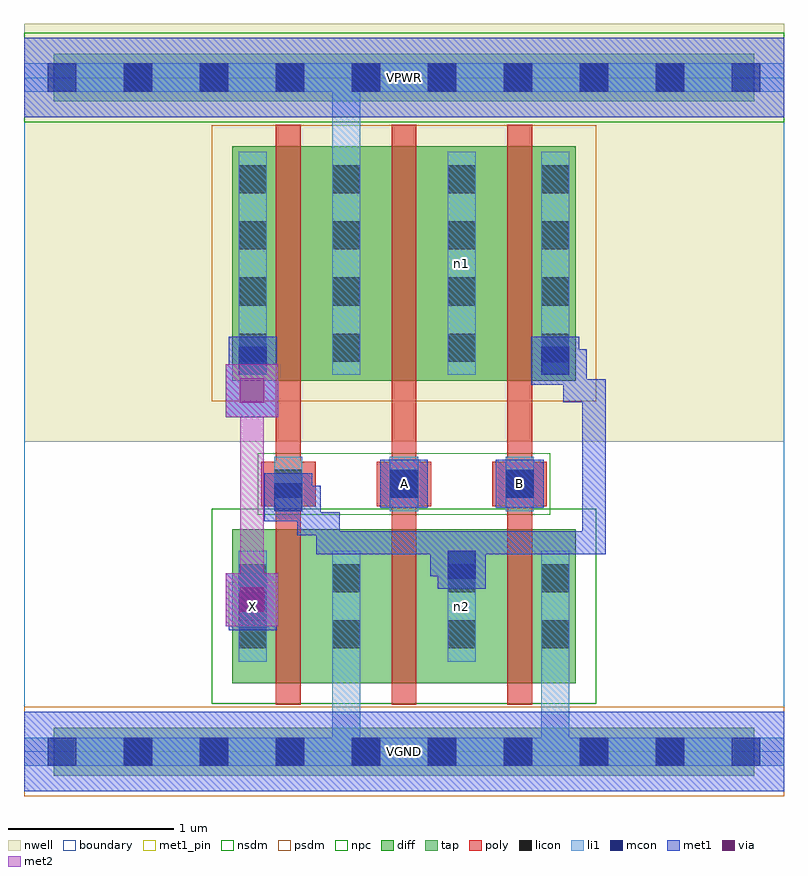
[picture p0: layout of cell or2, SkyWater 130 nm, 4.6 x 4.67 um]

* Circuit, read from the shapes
.subckt or2 A B VGND VPWR X n1 n2
XM1 VGND n2 X VGND sky130_fd_pr__nfet_01v8 w=0.93 l=0.15
XM2 n2 A VGND VGND sky130_fd_pr__nfet_01v8 w=0.93 l=0.15
XM3 VGND B n2 VGND sky130_fd_pr__nfet_01v8 w=0.93 l=0.15
XM4 VPWR n2 X VPWR sky130_fd_pr__pfet_01v8 w=1.42 l=0.15
XM5 n1 A VPWR VPWR sky130_fd_pr__pfet_01v8 w=1.42 l=0.15
XM6 n2 B n1 VPWR sky130_fd_pr__pfet_01v8 w=1.42 l=0.15
.ends

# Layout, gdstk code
import gdstk
lib = gdstk.Library(unit=1e-6, precision=1e-09)
def R(c, l, rs):  # rectangles x0, y0, x1, y1
    for r in rs: c.add(gdstk.rectangle(r[:2], r[2:], *l))
def A(c, l, x, y, w, h, nx, ny, dx, dy):  # array of equal rectangles
    R(c, l, [(x+i*dx, y+j*dy, x+i*dx+w, y+j*dy+h) for i in range(nx) for j in range(ny)])
nwell = (64, 20)
diff = (65, 20)
tap = (65, 44)
poly = (66, 20)
licon = (66, 44)
li1 = (67, 20)
mcon = (67, 44)
met1_pin = (68, 16)
met1 = (68, 20)
via = (68, 44)
met2 = (69, 20)
nsdm = (93, 44)
psdm = (94, 20)
npc = (95, 20)
boundary = (235, 4)

or2 = lib.new_cell('or2')
R(or2, nwell, [(0,1.875,4.6,4.405)])
R(or2, diff, [(1.26,0.415,3.34,1.345), (1.26,2.245,3.34,3.665)])
R(or2, tap, [(0.18,-0.145,4.42,0.145), (0.18,3.935,4.42,4.225)])
A(or2, poly, 1.525, 0.285, 0.15, 3.51, 3, 1, 0.7, 0)
A(or2, poly, 1.435, 1.485, 0.33, 0.27, 3, 1, 0.7, 0)
A(or2, licon, 0.605, -0.085, 0.17, 0.17, 8, 2, 0.46, 4.08)
A(or2, licon, 1.515, 1.535, 0.17, 0.17, 3, 1, 0.7, 0)
A(or2, licon, 1.3, 2.36, 0.17, 0.17, 1, 4, 0, 0.34)
A(or2, licon, 1.865, 2.36, 0.17, 0.17, 1, 4, 0, 0.34)
A(or2, licon, 2.565, 2.36, 0.17, 0.17, 1, 4, 0, 0.34)
A(or2, licon, 3.13, 2.36, 0.17, 0.17, 1, 4, 0, 0.34)
R(or2, licon, [(1.3,0.625,1.47,0.795), (1.865,0.625,2.035,0.795), (2.565,0.625,2.735,0.795), (3.13,0.625,3.3,0.795), (1.3,0.965,1.47,1.135), (1.865,0.965,2.035,1.135), (2.565,0.965,2.735,1.135), (3.13,0.965,3.3,1.135)])
A(or2, li1, 1.515, 1.455, 0.17, 0.33, 3, 1, 0.7, 0)
R(or2, li1, [(0,-0.085,4.6,0.085), (1.865,-0.085,2.035,1.215), (3.13,-0.085,3.3,1.215), (1.3,0.545,1.47,1.215), (1.865,0.545,2.035,1.215), (2.565,0.545,2.735,1.215), (3.13,0.545,3.3,1.215), (1.3,2.28,1.47,3.63), (1.865,2.28,2.035,3.63), (1.865,2.28,2.035,4.165), (2.565,2.28,2.735,3.63), (3.13,2.28,3.3,3.63), (0,3.995,4.6,4.165)])
A(or2, mcon, 0.145, -0.085, 0.17, 0.17, 10, 2, 0.46, 4.08)
R(or2, mcon, [(1.3,0.795,1.47,0.965), (2.565,1.045,2.735,1.215), (1.515,1.455,1.685,1.625), (2.215,1.535,2.385,1.705), (2.915,1.535,3.085,1.705), (1.3,2.28,1.47,2.45), (3.13,2.28,3.3,2.45)])
R(or2, met1_pin, [(0,-0.24,4.6,0.24), (1.24,0.735,1.53,1.025), (2.155,1.475,2.445,1.765), (2.855,1.475,3.145,1.765), (0,3.84,4.6,4.32)])
R(or2, met1, [(0,-0.24,4.6,0.24), (1.24,0.735,1.53,1.025), (1.22,0.76,1.54,1.08), (1.31,0.85,1.45,0.99), (2.505,0.985,2.795,1.275), (2.46,1.06,2.72,1.2), (2.46,1.06,2.6,1.335), (1.77,1.195,1.91,1.45), (1.77,1.195,2.6,1.335), (2.46,1.195,3.52,1.335), (3.38,1.195,3.52,2.255), (1.655,1.31,1.795,1.61), (1.655,1.31,1.91,1.45), (1.455,1.395,1.745,1.685), (1.53,1.47,1.795,1.61), (2.155,1.475,2.445,1.765), (2.855,1.475,3.145,1.765), (1.22,2.025,1.54,2.345), (1.31,2.115,1.45,2.435), (3.265,2.115,3.405,2.435), (3.265,2.115,3.52,2.255), (1.24,2.22,1.53,2.51), (3.07,2.22,3.36,2.51), (1.31,2.295,1.455,2.435), (3.145,2.295,3.405,2.435), (0,3.84,4.6,4.32)])
R(or2, via, [(1.305,0.845,1.455,0.995), (1.305,2.11,1.455,2.26)])
R(or2, met2, [(1.22,0.76,1.54,1.08), (1.31,0.85,1.45,2.255), (1.22,2.025,1.54,2.345)])
R(or2, nsdm, [(1.135,0.29,3.465,1.47), (0,3.81,4.6,4.35)])
R(or2, psdm, [(0,-0.27,4.6,0.27), (1.135,2.12,3.465,3.79)])
R(or2, npc, [(1.415,1.435,3.185,1.805)])
R(or2, boundary, [(0,0,4.6,4.08)])
or2.add(gdstk.Label('n2', (2.65,0.88), layer=67, texttype=5))
or2.add(gdstk.Label('n1', (2.65,2.955), layer=67, texttype=5))
or2.add(gdstk.Label('A', (2.3,1.62), layer=68, texttype=5))
or2.add(gdstk.Label('B', (3,1.62), layer=68, texttype=5))
or2.add(gdstk.Label('X', (1.385,0.88), layer=68, texttype=5))
or2.add(gdstk.Label('VPWR', (2.3,4.08), layer=68, texttype=5))
or2.add(gdstk.Label('VGND', (2.3,0), layer=68, texttype=5))
or2.add(gdstk.Label('A', (2.3,1.62), layer=68, texttype=16))
or2.add(gdstk.Label('B', (3,1.62), layer=68, texttype=16))
or2.add(gdstk.Label('X', (1.385,0.88), layer=68, texttype=16))
or2.add(gdstk.Label('VPWR', (2.3,4.08), layer=68, texttype=16))
or2.add(gdstk.Label('VGND', (2.3,0), layer=68, texttype=16))

lib.write_gds('or2.gds')
